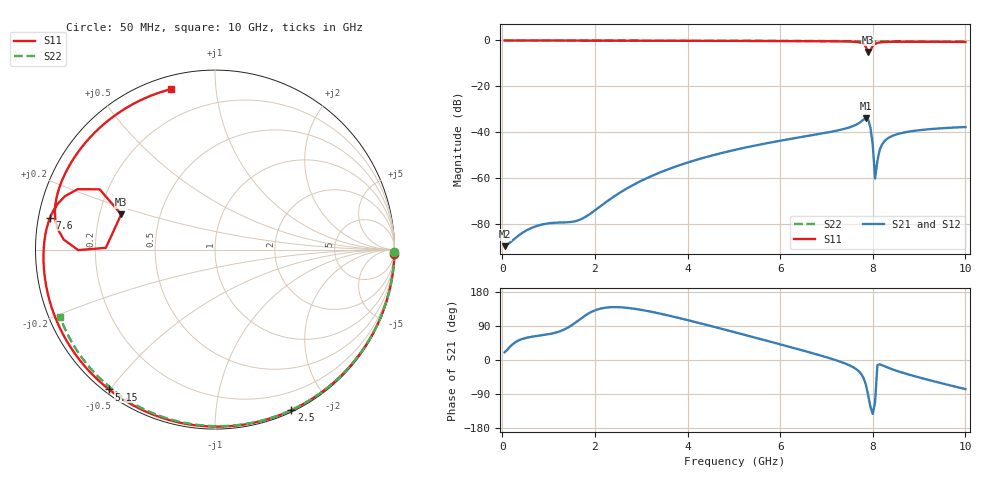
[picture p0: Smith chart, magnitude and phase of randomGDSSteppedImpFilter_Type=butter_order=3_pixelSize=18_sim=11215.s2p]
! freq	dB(S11)	phase(S11)	dB(S12)	phase(S12)
!  dB(S21)	phase(S21)	dB(S22)	phase(S22)
!S-par simulation data
#  GHz  S  DB  R 50
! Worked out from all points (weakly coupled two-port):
!   200 points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, 50 MHz to 10 GHz, reference 50 ohm
!   highest |S21| = -33.81 dB at 7.85 GHz (marker M1); lowest = -89.7 dB at 50 MHz (marker M2)
!   lowest |S11| = -5.1 dB at 7.9 GHz (marker M3), VSWR 3.53, Z = 14.6 + j8.36 ohm
!   |S11| at or under -10 dB: nowhere
!   |S22| runs from -0.5 to 0.0 dB; largest |S21 - S12| = 0
!   S11 on the Smith chart (normalised r, x): 50 MHz: 0, -86; 2.5 GHz: 0.02, -1.58; 5.15 GHz: 0.01, -0.50; 7.6 GHz: 0.03, +0.10; 10 GHz: 0.06, +0.76
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0.05  -0.00 -1.3  -89.65 20.4  -89.65 20.4  -0.00 -0.9
1.45  -0.05 -38.1  -79.18 88.0  -79.18 88.0  -0.03 -26.0
1.75  -0.06 -45.8  -77.40 113.9  -77.40 113.9  -0.04 -31.3
2.5  -0.08 -64.6  -66.85 139.4  -66.85 139.4  -0.06 -44.2
3.4  -0.11 -86.4  -57.57 122.6  -57.57 122.6  -0.08 -59.3
4.2  -0.15 -105.2  -51.98 99.2  -51.98 99.2  -0.10 -72.2
5.05  -0.19 -124.8  -47.56 72.3  -47.56 72.3  -0.13 -85.5
5.15  -0.20 -127.1  -47.11 69.1  -47.11 69.1  -0.14 -87.0
6.7  -0.32 -164.0  -41.25 17.9  -41.25 17.9  -0.21 -109.9
7.6  -0.57 169.0  -37.09 -20.7  -37.09 -20.7  -0.28 -122.8
7.75  -1.03 160.4  -35.34 -36.9  -35.34 -36.9  -0.29 -124.9
7.85  -2.79 152.4  -33.81 -64.6  -33.81 -64.6  -0.30 -126.3
7.9  -5.06 159.3  -34.29 -92.4  -34.29 -92.4  -0.31 -127.0
7.95  -4.32 179.1  -38.05 -123.9  -38.05 -123.9  -0.31 -127.7
8  -2.36 -179.8  -45.56 -142.4  -45.56 -142.4  -0.32 -128.4
8.05  -1.47 176.2  -60.19 -110.7  -60.19 -110.7  -0.32 -129.1
8.1  -1.07 172.5  -52.46 -13.4  -52.46 -13.4  -0.32 -129.8
8.15  -0.87 169.4  -47.63 -11.3  -47.63 -11.3  -0.33 -130.5
8.25  -0.69 164.4  -43.96 -16.2  -43.96 -16.2  -0.34 -131.9
8.35  -0.62 160.4  -42.33 -21.3  -42.33 -21.3  -0.34 -133.3
9.2  -0.59 132.3  -38.71 -52.5  -38.71 -52.5  -0.43 -145.2
10  -0.66 105.5  -37.74 -76.7  -37.74 -76.7  -0.53 -156.6
